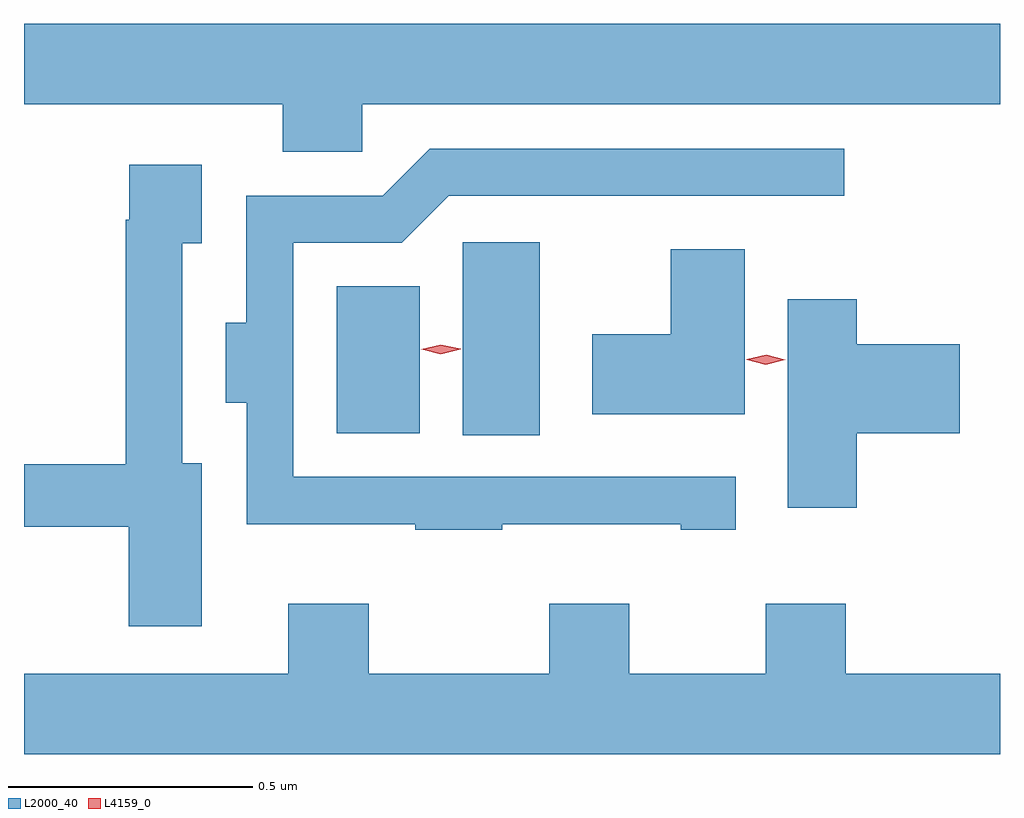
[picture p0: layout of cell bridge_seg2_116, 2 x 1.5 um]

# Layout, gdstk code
import gdstk
lib = gdstk.Library(unit=1e-6, precision=1e-09)
def R(c, l, rs):  # rectangles x0, y0, x1, y1
    for r in rs: c.add(gdstk.rectangle(r[:2], r[2:], *l))
def P(c, l, *ps):  # polygons
    for p in ps: c.add(gdstk.Polygon(p, *l))
L2000_40 = (2000, 40)
L4159_0 = (4159, 0)

bridge_seg2_116 = lib.new_cell('bridge_seg2_116')
R(bridge_seg2_116, L2000_40, [(473.72,624.313,473.878,624.709), (473.462,624.317,473.632,624.619)])
P(bridge_seg2_116, L2000_40, [(473.514,624.992),(474.821,624.992),(474.821,625.156),(472.821,625.156),(472.821,624.992),(473.351,624.992),(473.351,624.894),(473.514,624.894)],
  [(473.801,624.131),(474.167,624.131),(474.167,624.12),(474.28,624.12),(474.28,624.228),(473.373,624.228),(473.373,624.708),(473.595,624.708),(473.691,624.804),(474.502,624.804),(474.502,624.9),(473.652,624.9),(473.556,624.804),(473.276,624.804),(473.276,624.544),(473.234,624.544),(473.234,624.38),(473.277,624.38),(473.277,624.131),(473.623,624.131),(473.623,624.12),(473.801,624.12)],
  [(473.185,624.256),(473.145,624.256),(473.145,624.707),(473.185,624.707),(473.185,624.868),(473.037,624.868),(473.037,624.755),(473.029,624.755),(473.029,624.254),(472.821,624.254),(472.821,624.126),(473.036,624.126),(473.036,623.922),(473.185,623.922)],
  [(474.298,624.694),(474.146,624.694),(474.146,624.52),(473.985,624.52),(473.985,624.356),(474.298,624.356)],
  [(474.527,624.317),(474.739,624.317),(474.739,624.5),(474.527,624.5),(474.527,624.592),(474.386,624.592),(474.386,624.165),(474.527,624.165)],
  [(474.821,623.824),(474.505,623.824),(474.505,623.968),(474.341,623.968),(474.341,623.824),(474.061,623.824),(474.061,623.968),(473.897,623.968),(473.897,623.824),(473.527,623.824),(473.527,623.968),(473.363,623.968),(473.363,623.824),(472.821,623.824),(472.821,623.66),(474.821,623.66)])
P(bridge_seg2_116, L4159_0, [(474.341,624.458),(474.302,624.468),(474.302,624.469),(474.302,624.469),(474.342,624.478),(474.381,624.468),(474.381,624.468),(474.381,624.468)],
  [(473.675,624.479),(473.635,624.489),(473.635,624.489),(473.635,624.489),(473.675,624.499),(473.716,624.49),(473.716,624.49),(473.716,624.489)])

lib.write_gds('bridge_seg2_116.gds')
